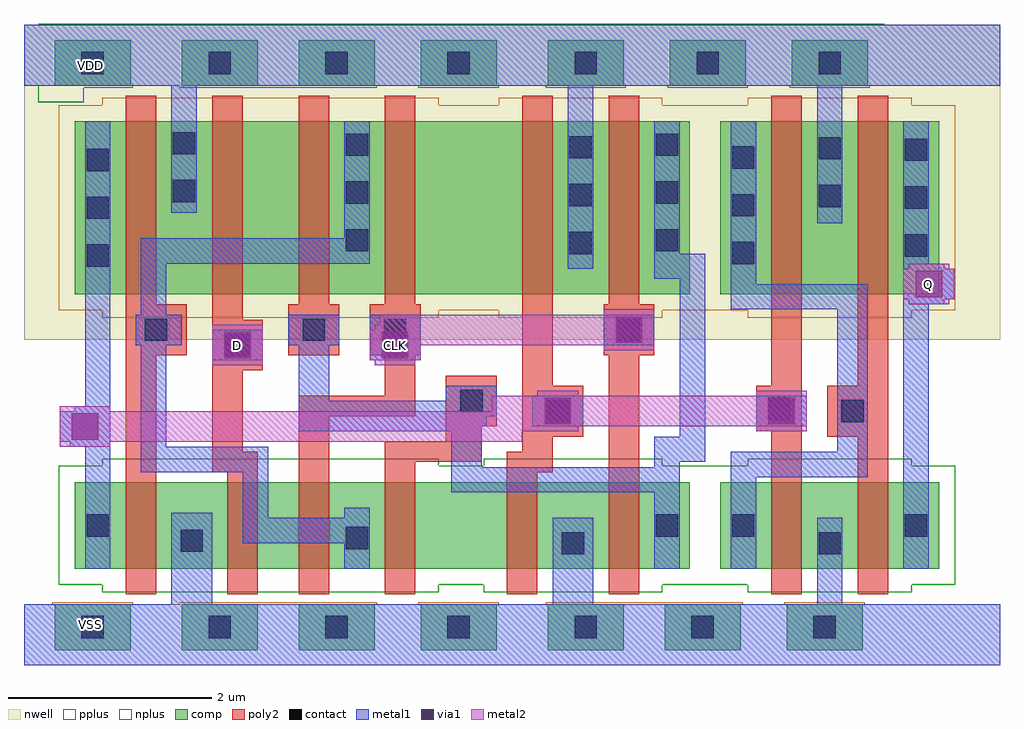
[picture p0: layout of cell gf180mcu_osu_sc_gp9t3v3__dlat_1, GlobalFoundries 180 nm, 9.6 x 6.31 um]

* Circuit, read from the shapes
.subckt gf180mcu_osu_sc_gp9t3v3__dlat_1 CLK D Q VDD VSS
XM1 VSS n1 n2 VSS nfet_03v3 w=0.85u l=0.3u
XM2 n3 D VSS VSS nfet_03v3 w=0.85u l=0.3u
XM3 n1 CLK n3 VSS nfet_03v3 w=0.85u l=0.3u
XM4 n4 n5 n1 VSS nfet_03v3 w=0.85u l=0.3u
XM5 VSS n2 n4 VSS nfet_03v3 w=0.85u l=0.3u
XM6 n5 CLK VSS VSS nfet_03v3 w=0.85u l=0.3u
XM7 VSS n2 n6 VSS nfet_03v3 w=0.85u l=0.3u
XM8 Q n6 VSS VSS nfet_03v3 w=0.85u l=0.3u
XM9 VDD n1 n2 VDD pfet_03v3 w=1.7u l=0.3u
XM10 n7 D VDD VDD pfet_03v3 w=1.7u l=0.3u
XM11 n1 n5 n7 VDD pfet_03v3 w=1.7u l=0.3u
XM12 n8 CLK n1 VDD pfet_03v3 w=1.7u l=0.3u
XM13 VDD n2 n8 VDD pfet_03v3 w=1.7u l=0.3u
XM14 n5 CLK VDD VDD pfet_03v3 w=1.7u l=0.3u
XM15 VDD n2 n6 VDD pfet_03v3 w=1.7u l=0.3u
XM16 Q n6 VDD VDD pfet_03v3 w=1.7u l=0.3u
.ends

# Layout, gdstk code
import gdstk
lib = gdstk.Library(unit=1e-6, precision=1e-09)
def R(c, l, rs):  # rectangles x0, y0, x1, y1
    for r in rs: c.add(gdstk.rectangle(r[:2], r[2:], *l))
def A(c, l, x, y, w, h, nx, ny, dx, dy):  # array of equal rectangles
    R(c, l, [(x+i*dx, y+j*dy, x+i*dx+w, y+j*dy+h) for i in range(nx) for j in range(ny)])
nwell = (21, 0)
comp = (22, 0)
poly2 = (30, 0)
pplus = (31, 0)
nplus = (32, 0)
contact = (33, 0)
metal1 = (34, 0)
via1 = (35, 0)
metal2 = (36, 0)

gf180mcu_osu_sc_gp9t3v3_ = lib.new_cell('gf180mcu_osu_sc_gp9t3v3__dlat_1')
R(gf180mcu_osu_sc_gp9t3v3_, nwell, [(0,3.2,9.6,6.3)])
A(gf180mcu_osu_sc_gp9t3v3_, comp, 5.15, 5.7, 0.75, 0.45, 3, 1, 1.2, 0)
R(gf180mcu_osu_sc_gp9t3v3_, comp, [(0.3,0.15,1.05,0.6), (1.55,0.15,2.3,0.6), (2.7,0.15,3.45,0.6), (3.9,0.15,4.65,0.6), (5.15,0.15,5.9,0.6), (6.3,0.15,7.05,0.6), (7.5,0.15,8.25,0.6), (0.5,0.95,6.55,1.8), (6.85,0.95,9,1.8), (0.5,3.65,6.55,5.35), (6.85,3.65,9,5.35), (0.3,5.7,1.05,6.15), (1.55,5.7,2.3,6.15), (2.7,5.7,3.45,6.15), (3.9,5.7,4.65,6.15)])
R(gf180mcu_osu_sc_gp9t3v3_, poly2, [(1,0.7,1.3,3.05), (2,0.7,2.3,1.9), (2.7,0.7,3,2.45), (3.55,0.7,3.85,2), (4.75,0.7,5.05,1.9), (5.75,0.7,6.05,3.05), (7.35,0.7,7.65,2.3), (8.2,0.7,8.5,2.25), (1.85,1.9,2.3,2.1), (4.75,1.9,5.2,2.1), (3.55,2,4.5,2.2), (1.85,2.1,2.15,2.9), (4.9,2.1,5.2,2.25), (4.15,2.2,4.5,2.35), (4.9,2.25,5.5,2.75), (7.9,2.25,8.5,2.75), (7.2,2.3,7.65,2.75), (4.15,2.35,4.65,2.85), (2.7,2.45,3.85,2.65), (3.55,2.65,3.85,3.05), (4.9,2.75,5.2,5.6), (7.35,2.75,7.65,5.6), (8.2,2.75,8.5,5.6), (1.85,2.9,2.35,3.4), (1,3.05,1.6,3.55), (2.6,3.05,3.1,3.55), (3.4,3.05,3.9,3.55), (5.7,3.05,6.2,3.55), (1.85,3.4,2.15,5.6), (1,3.55,1.3,5.6), (2.7,3.55,3,5.6), (3.55,3.55,3.85,5.6), (5.75,3.55,6.05,5.6)])
A(gf180mcu_osu_sc_gp9t3v3_, pplus, 0.28, 0.13, 0.79, 0.49, 3, 1, 3.6, 0)
R(gf180mcu_osu_sc_gp9t3v3_, pplus, [(0,0,9.6,0.6), (1.53,0.13,3.47,0.62), (5.13,0.13,7.07,0.62), (0.77,3.42,4.08,3.49), (4.67,3.42,6.28,3.49), (7.12,3.42,8.73,3.49), (0.34,3.49,9.16,5.51), (0.77,5.51,4.08,5.58), (4.67,5.51,6.28,5.58), (7.12,5.51,8.73,5.58)])
A(gf180mcu_osu_sc_gp9t3v3_, nplus, 5.13, 5.68, 0.79, 0.02, 3, 1, 1.2, 0)
R(gf180mcu_osu_sc_gp9t3v3_, nplus, [(0.77,0.72,4.08,0.79), (4.52,0.72,6.28,0.79), (7.12,0.72,8.73,0.79), (0.34,0.79,9.16,1.96), (0.77,1.96,4.08,2.03), (4.52,1.96,6.28,2.03), (7.12,1.96,8.73,2.03), (0.14,5.54,0.59,5.68), (0.14,5.68,1.07,5.7), (1.53,5.68,3.47,5.7), (3.88,5.68,4.67,5.7), (0,5.7,9.6,6.3), (0,5.7,9.6,6.3), (0.14,6.3,8.46,6.31)])
A(gf180mcu_osu_sc_gp9t3v3_, contact, 0.615, 3.92, 0.22, 0.22, 1, 3, 0, 0.47)
A(gf180mcu_osu_sc_gp9t3v3_, contact, 6.965, 3.945, 0.22, 0.22, 1, 3, 0, 0.47)
A(gf180mcu_osu_sc_gp9t3v3_, contact, 8.665, 4.02, 0.22, 0.22, 1, 3, 0, 0.47)
A(gf180mcu_osu_sc_gp9t3v3_, contact, 5.365, 4.045, 0.22, 0.22, 1, 3, 0, 0.47)
A(gf180mcu_osu_sc_gp9t3v3_, contact, 3.165, 4.07, 0.22, 0.22, 1, 3, 0, 0.47)
A(gf180mcu_osu_sc_gp9t3v3_, contact, 6.215, 4.07, 0.22, 0.22, 1, 3, 0, 0.47)
A(gf180mcu_osu_sc_gp9t3v3_, contact, 5.415, 5.815, 0.22, 0.22, 3, 1, 1.2, 0)
R(gf180mcu_osu_sc_gp9t3v3_, contact, [(0.565,0.265,0.785,0.485), (1.815,0.265,2.035,0.485), (2.965,0.265,3.185,0.485), (4.165,0.265,4.385,0.485), (5.415,0.265,5.635,0.485), (6.565,0.265,6.785,0.485), (7.765,0.265,7.985,0.485), (5.29,1.09,5.51,1.31), (7.815,1.09,8.035,1.31), (1.54,1.115,1.76,1.335), (3.165,1.14,3.385,1.36), (0.615,1.265,0.835,1.485), (6.215,1.265,6.435,1.485), (6.965,1.265,7.185,1.485), (8.665,1.265,8.885,1.485), (5.14,2.39,5.36,2.61), (8.04,2.39,8.26,2.61), (7.315,2.415,7.535,2.635), (4.29,2.49,4.51,2.71), (1.99,3.04,2.21,3.26), (1.19,3.19,1.41,3.41), (2.74,3.19,2.96,3.41), (3.54,3.19,3.76,3.41), (5.84,3.19,6.06,3.41), (7.815,4.505,8.035,4.725), (1.465,4.555,1.685,4.775), (7.815,4.975,8.035,5.195), (1.465,5.025,1.685,5.245), (0.565,5.815,0.785,6.035), (1.815,5.815,2.035,6.035), (2.965,5.815,3.185,6.035), (4.165,5.815,4.385,6.035)])
R(gf180mcu_osu_sc_gp9t3v3_, metal1, [(0,0,9.6,0.6), (1.45,0.6,1.85,1.5), (5.2,0.6,5.6,1.45), (7.8,0.6,8.05,1.45), (0.6,0.95,0.85,2.15), (3.15,0.95,3.4,1.2), (6.2,0.95,6.45,1.7), (6.95,0.95,7.2,1.85), (8.65,0.95,8.9,3.55), (2.15,1.2,3.4,1.45), (2.15,1.45,2.4,1.9), (3.15,1.45,3.4,1.55), (4.2,1.7,6.45,1.95), (6.95,1.85,8.3,2.1), (1.15,1.9,2.4,2.15), (4.2,1.95,4.5,2.3), (6.2,1.95,6.45,2), (6.2,2,6.7,2.25), (8,2.1,8.3,3.5), (0.45,2.15,0.85,2.2), (1.15,2.15,1.4,3.15), (0.35,2.2,0.85,2.5), (6.45,2.25,6.7,3.8), (2.7,2.3,4.5,2.35), (2.7,2.35,4.55,2.45), (5,2.35,5.5,2.65), (7.2,2.35,7.7,2.65), (2.7,2.45,4.65,2.6), (0.5,2.5,0.85,2.55), (0.6,2.55,0.85,5.35), (2.7,2.6,3,3.15), (4.15,2.6,4.65,2.75), (1.85,3,2.35,3.3), (3.4,3,3.9,3.45), (1.1,3.15,1.55,3.45), (2.6,3.15,3.1,3.45), (5.7,3.15,6.2,3.45), (1.15,3.45,1.4,3.95), (6.95,3.5,8.3,3.75), (8.65,3.55,9.05,3.6), (8.65,3.6,9.15,3.9), (6.95,3.75,7.2,5.35), (6.2,3.8,6.7,4.05), (5.35,3.9,5.6,5.7), (8.65,3.9,9.05,3.95), (1.15,3.95,3.4,4.2), (8.65,3.95,8.9,5.35), (6.2,4.05,6.45,5.35), (3.15,4.2,3.4,5.35), (7.8,4.35,8.05,5.7), (1.45,4.45,1.7,5.7), (0,5.7,9.6,6.3)])
R(gf180mcu_osu_sc_gp9t3v3_, via1, [(0.47,2.22,0.73,2.48), (5.12,2.37,5.38,2.63), (7.32,2.37,7.58,2.63), (1.97,3.02,2.23,3.28), (3.52,3.02,3.78,3.28), (5.82,3.17,6.08,3.43), (8.77,3.62,9.03,3.88)])
R(gf180mcu_osu_sc_gp9t3v3_, metal2, [(0.35,2.15,0.85,2.2), (0.35,2.2,4.9,2.3), (0.35,2.3,5.45,2.35), (7.2,2.3,7.7,2.35), (0.35,2.35,7.7,2.5), (0.35,2.5,0.85,2.55), (4.6,2.5,7.7,2.65), (5.05,2.65,5.45,2.7), (7.2,2.65,7.7,2.7), (1.85,2.95,2.35,3.35), (3.45,2.95,3.85,3), (3.4,3,3.9,3.15), (5.7,3.1,6.2,3.15), (3.4,3.15,6.2,3.3), (3.45,3.3,6.2,3.35), (3.5,3.35,6.2,3.45), (5.7,3.45,6.2,3.5), (8.7,3.55,9.1,3.6), (8.65,3.6,9.15,3.9), (8.7,3.9,9.1,3.95)])
gf180mcu_osu_sc_gp9t3v3_.add(gdstk.Label('D', (2.1,3.15), layer=36, texttype=10))
gf180mcu_osu_sc_gp9t3v3_.add(gdstk.Label('CLK', (3.65,3.15), layer=36, texttype=10))
gf180mcu_osu_sc_gp9t3v3_.add(gdstk.Label('Q', (8.9,3.75), layer=36, texttype=10))
gf180mcu_osu_sc_gp9t3v3_.add(gdstk.Label('VDD', (0.65,5.9), layer=22, texttype=0))
gf180mcu_osu_sc_gp9t3v3_.add(gdstk.Label('VSS', (0.65,0.4), layer=22, texttype=0))

lib.write_gds('gf180mcu_osu_sc_gp9t3v3__dlat_1.gds')
